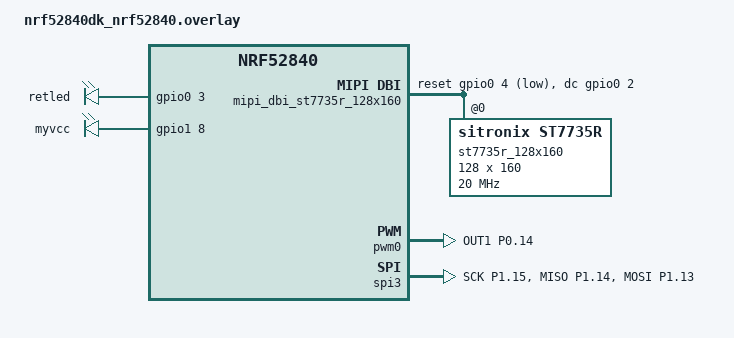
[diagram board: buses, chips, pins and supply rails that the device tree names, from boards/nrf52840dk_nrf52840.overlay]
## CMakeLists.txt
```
#
# Copyright (c) 2021 Nordic Semiconductor ASA
#
# SPDX-License-Identifier: LicenseRef-Nordic-5-Clause
#

cmake_minimum_required(VERSION 3.20.0)

find_package(Zephyr HINTS $ENV{ZEPHYR_BASE})

project(light_bulb_ttt)

# Enable GNU STD support.
include(${ZEPHYR_CONNECTEDHOMEIP_MODULE_DIR}/config/nrfconnect/app/enable-gnu-std.cmake)

# NORDIC SDK APP START

# Include all source files that are located in the Matter common directory.
include(${ZEPHYR_NRF_MODULE_DIR}/samples/matter/common/cmake/source_common.cmake)

# Include Data Model utils
include(${ZEPHYR_NRF_MODULE_DIR}/samples/matter/common/cmake/data_model.cmake)

include(${ZEPHYR_NRF_MODULE_DIR}/samples/matter/common/cmake/zap_helpers.cmake)
ncs_get_zap_parent_dir(ZAP_PARENT_DIR)

target_include_directories(app PRIVATE
  src
  ${ZAP_PARENT_DIR}
)

if(CONFIG_AWS_IOT_INTEGRATION)
  add_subdirectory(src/aws_iot_integration)
endif()

target_sources(app PRIVATE
  src/app_task.cpp
  src/main.cpp
  src/zcl_callbacks.cpp
  ${CHIP_ROOT}/src/app/persistence/DeferredAttributePersistenceProvider.cpp
)

ncs_configure_data_model()
# NORDIC SDK APP END
```

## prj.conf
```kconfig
#
# Copyright (c) 2022 Nordic Semiconductor ASA
#
# SPDX-License-Identifier: LicenseRef-Nordic-5-Clause
#

# Enable CHIP
CONFIG_CHIP=y
CONFIG_CHIP_PROJECT_CONFIG="src/chip_project_config.h"
CONFIG_CHIP_DEVICE_PRODUCT_NAME="Matter Light Bulb"

# Configure ZAP file name
CONFIG_NCS_SAMPLE_MATTER_ZAP_FILE_PATH="${APPLICATION_CONFIG_DIR}/src/default_zap/light_bulb.zap"

# 32773 == 0x8005 (example lighting-app)
CONFIG_CHIP_DEVICE_PRODUCT_ID=32773
CONFIG_STD_CPP17=y

# Enable Matter pairing automatically on application start.
CONFIG_CHIP_ENABLE_PAIRING_AUTOSTART=y

# Enable Matter extended announcement and increase duration to 1 hour.
CONFIG_CHIP_BLE_EXT_ADVERTISING=y
CONFIG_CHIP_BLE_ADVERTISING_DURATION=60

# Add support for LEDs and buttons on Nordic development kits
CONFIG_DK_LIBRARY=y
CONFIG_PWM=y

# Bluetooth Low Energy configuration
CONFIG_BT_DEVICE_NAME="MatterLight"

# Other settings
CONFIG_THREAD_NAME=y
CONFIG_MPU_STACK_GUARD=y
CONFIG_RESET_ON_FATAL_ERROR=n
CONFIG_CHIP_LIB_SHELL=y
CONFIG_NCS_SAMPLE_MATTER_TEST_SHELL=y

# Reduce application size
CONFIG_USE_SEGGER_RTT=n

# Enable Factory Data feature
CONFIG_CHIP_FACTORY_DATA=y
CONFIG_CHIP_FACTORY_DATA_BUILD=y

# Needed for display and LVGL (prevent stack overflow and crash) 
CONFIG_MAIN_STACK_SIZE=4096 
# CONFIG_LV_Z_VDB_SIZE=10
CONFIG_LV_Z_VDB_SIZE=10
CONFIG_LV_Z_BITS_PER_PIXEL=16
CONFIG_LV_DPI_DEF=130
CONFIG_LV_COLOR_16_SWAP=y
CONFIG_SPI=y
CONFIG_LV_Z_VDB_ALIGN=4
CONFIG_LV_CONF_SKIP=y
CONFIG_LV_CONF_MINIMAL=y
CONFIG_LV_COLOR_DEPTH_16=y
# CONFIG_LV_COLOR_DEPTH=16 // x
CONFIG_LV_USE_BUILTIN_MALLOC=y
CONFIG_LV_USE_BUILTIN_STRING=y
CONFIG_LV_USE_BUILTIN_SPRINTF=y
# CONFIG_LV_MEM_SIZE_KILOBYTES=64
CONFIG_LV_MEM_SIZE_KILOBYTES=128
CONFIG_LV_MEM_POOL_EXPAND_SIZE_KILOBYTES=0
CONFIG_LV_MEM_ADR=0x0
CONFIG_LV_DEF_REFR_PERIOD=33
CONFIG_LV_OS_NONE=y
CONFIG_LV_DRAW_BUF_STRIDE_ALIGN=1
CONFIG_LV_DRAW_BUF_ALIGN=4
CONFIG_LV_DRAW_LAYER_SIMPLE_BUF_SIZE=24576
CONFIG_LV_DRAW_LAYER_MAX_MEMORY=0
CONFIG_LV_USE_DRAW_SW=y
CONFIG_LV_DRAW_SW_SUPPORT_RGB565=y
CONFIG_LV_DRAW_SW_SUPPORT_RGB565_SWAPPED=y
CONFIG_LV_DRAW_SW_SUPPORT_RGB565A8=y
CONFIG_LV_DRAW_SW_SUPPORT_RGB888=y
CONFIG_LV_DRAW_SW_SUPPORT_XRGB8888=y
CONFIG_LV_DRAW_SW_SUPPORT_ARGB8888=y
CONFIG_LV_DRAW_SW_SUPPORT_ARGB8888_PREMULTIPLIED=y
CONFIG_LV_DRAW_SW_SUPPORT_L8=y
CONFIG_LV_DRAW_SW_SUPPORT_AL88=y
CONFIG_LV_DRAW_SW_SUPPORT_A8=y
CONFIG_LV_DRAW_SW_SUPPORT_I1=y
CONFIG_LV_DRAW_SW_I1_LUM_THRESHOLD=127
CONFIG_LV_DRAW_SW_DRAW_UNIT_CNT=1
CONFIG_LV_DRAW_SW_COMPLEX=y
CONFIG_LV_DRAW_SW_SHADOW_CACHE_SIZE=0
CONFIG_LV_DRAW_SW_CIRCLE_CACHE_SIZE=4
CONFIG_LV_DRAW_SW_ASM_NONE=y
CONFIG_LV_ASSERT_HANDLER_INCLUDE="assert.h"
CONFIG_LV_CACHE_DEF_SIZE=0
CONFIG_LV_IMAGE_HEADER_CACHE_DEF_CNT=0
CONFIG_LV_GRADIENT_MAX_STOPS=2
CONFIG_LV_COLOR_MIX_ROUND_OFS=128
CONFIG_LV_ATTRIBUTE_MEM_ALIGN_SIZE=1
CONFIG_LV_FONT_UNSCII_8=y
CONFIG_LV_FONT_DEFAULT_UNSCII_8=y
CONFIG_LV_USE_FONT_PLACEHOLDER=y
CONFIG_LV_TXT_ENC_ASCII=y
CONFIG_LV_TXT_BREAK_CHARS=" ,.;:-_)}"
CONFIG_LV_TXT_LINE_BREAK_LONG_LEN=0
CONFIG_LV_TXT_COLOR_CMD="#"
CONFIG_LV_USE_LABEL=y
CONFIG_LV_LABEL_TEXT_SELECTION=y
CONFIG_LV_LABEL_LONG_TXT_HINT=y
CONFIG_LV_LABEL_WAIT_CHAR_COUNT=3
CONFIG_LV_USE_LINE=y
CONFIG_LV_FS_DEFAULT_DRIVER_LETTER=0
CONFIG_LV_USE_OBSERVER=y
# CONFIG_LVGL_VERSION_MAJOR=9 //x
# CONFIG_LVGL_VERSION_MINOR=5 //x
# CONFIG_LVGL_VERSION_PATCH=0 //x
CONFIG_LVGL=y
CONFIG_APP_LINK_WITH_LVGL=y
CONFIG_LV_Z_AREA_X_ALIGNMENT_WIDTH=1
CONFIG_LV_Z_AREA_Y_ALIGNMENT_WIDTH=1
CONFIG_LV_Z_AUTO_INIT=y
CONFIG_LV_Z_INIT_PRIORITY=90
CONFIG_LV_Z_MEM_POOL_SYS_HEAP=y
# CONFIG_LV_Z_MEM_POOL_SIZE=8192
CONFIG_LV_Z_MEM_POOL_SIZE=8192
CONFIG_LV_Z_MONOCHROME_CONVERSION_BUFFER=y
CONFIG_LV_Z_BUFFER_ALLOC_STATIC=y
CONFIG_DISPLAY=y
CONFIG_DISPLAY_INIT_PRIORITY=85
CONFIG_DISPLAY_LOG_LEVEL_DEFAULT=y
CONFIG_ST7735R=y
CONFIG_MIPI_DBI=y
CONFIG_MIPI_DBI_LOG_LEVEL_DEFAULT=y
# CONFIG_MIPI_DBI_LOG_LEVEL=1 //x
CONFIG_MIPI_DBI_INIT_PRIORITY=80
CONFIG_MIPI_DBI_SPI=y
CONFIG_SPI_INIT_PRIORITY=50
CONFIG_SPI_COMPLETION_TIMEOUT_TOLERANCE=200
CONFIG_SPI_LOG_LEVEL_DEFAULT=y
# CONFIG_SPI_LOG_LEVEL=1 //x
CONFIG_SPI_NRFX=y
CONFIG_SPI_NRFX_WAKE_TIMEOUT_US=200
CONFIG_SYS_HEAP_INFO=y
# CONFIG_EXPERIMENTAL=y //x
CONFIG_LV_USE_CANVAS=y
CONFIG_LV_USE_QRCODE=y
CONFIG_LV_USE_FLEX=y
```

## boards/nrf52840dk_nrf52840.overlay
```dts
/*
 * Copyright (c) 2021-2022 Nordic Semiconductor ASA
 *
 * SPDX-License-Identifier: LicenseRef-Nordic-5-Clause
 */

 #include <zephyr/dt-bindings/mipi_dbi/mipi_dbi.h>

/ {
	chosen {
		nordic,pm-ext-flash = &mx25r64;
		zephyr,display = &st7735r_128x160;
	};

	mipi_dbi_st7735r_128x160 {
		compatible = "zephyr,mipi-dbi-spi";
		spi-dev = <&spi3>;
		dc-gpios = <&gpio0 2 GPIO_ACTIVE_HIGH>;
		reset-gpios = <&gpio0 4 GPIO_ACTIVE_LOW>;
		#address-cells = <1>;
		#size-cells = <0>;

		st7735r_128x160: st7735r@0 {
			compatible = "sitronix,st7735r";
			mipi-max-frequency = <20000000>;
			mipi-mode = "MIPI_DBI_MODE_SPI_4WIRE";
			reg = <0>;
			width = <128>;
			height = <160>;
			// inversion-on; ???
			rgb-is-inverted;
			x-offset = <0>;
			y-offset = <0>;
			pwctr1 = [A2 02 84];
			pwctr2 = [C5];
			pwctr3 = [0A 00];
			pwctr4 = [8A 2A];
			pwctr5 = [8A EE];
			invctr = <7>;
			frmctr1 = [01 2C 2D];
			frmctr2 = [01 2C 2D];
			frmctr3 = [01 2C 2D 01 2C 2D];
			vmctr1 = <14>;
			gamctrp1 = [02 1C 07 12 37 32 29 2D 29 25 2B 39 00 01 03 10];
			gamctrn1 = [03 1D 07 06 2E 2C 29 2D 2E 2E 37 3F 00 00 02 10];
			colmod = <5>;
			/* Set D3 (RGB) bit to 1. LV_COLOR_16_SWAP is enabled by default */
			// madctl = <184>; /* Set to <120> to rotate the image 180 degrees. */
			madctl = <200>;
			caset = [00 01 00 a0];
			raset = [00 1a 00 69];
			// caset = [00 00 00 7f];
			// raset = [00 00 00 9f];
		};
	};

	/*
	 * By default, PWM module is only configured for led0 (LED1 on the board).
	 * The light bulb app, however, uses LED2 to show the state of the lighting,
	 * including its brightness level.
	 */
	aliases {
		pwm-led1 = &pwm_led1;
		my-ret-led = &retled;
		my-vcc = &myvcc;
	};

	pwmleds {
		pwm_led1: pwm_led_1 {
			pwms = <&pwm0 1 PWM_MSEC(20) PWM_POLARITY_INVERTED>;
		};
	};

	leds {
		compatible = "gpio-leds";
		retled: d03 {
			gpios = <&gpio0 3 GPIO_ACTIVE_HIGH>;
		};
		myvcc: d112 {
			gpios = <&gpio1 8 GPIO_ACTIVE_HIGH>;
		};
	};
};

&pwm0 {
	pinctrl-0 = <&pwm0_default_alt>;
	pinctrl-1 = <&pwm0_sleep_alt>;
	pinctrl-names = "default", "sleep";
};

&spi3 {
	status = "okay";
	cs-gpios = <&arduino_header 16 GPIO_ACTIVE_LOW>; /* D10 */
	pinctrl-0 = <&spi3_default>;
	pinctrl-1 = <&spi3_sleep>;
	pinctrl-names = "default", "sleep";
};

&pinctrl {
	pwm0_default_alt: pwm0_default_alt {
		group1 {
			psels = <NRF_PSEL(PWM_OUT1, 0, 14)>;
			nordic,invert;
		};
	};

	pwm0_sleep_alt: pwm0_sleep_alt {
		group1 {
			psels = <NRF_PSEL(PWM_OUT1, 0, 14)>;
			low-power-enable;
		};
	};

	spi3_default: spi3_default {
		group1 {
			psels = <NRF_PSEL(SPIM_SCK, 1, 15)>,
				<NRF_PSEL(SPIM_MISO, 1, 14)>,
				<NRF_PSEL(SPIM_MOSI, 1, 13)>;
			nordic,drive-mode = <NRF_DRIVE_H0H1>;
		};
	};

	spi3_sleep: spi3_sleep {
		group1 {
			psels = <NRF_PSEL(SPIM_SCK, 1, 15)>,
				<NRF_PSEL(SPIM_MISO, 1, 14)>,
				<NRF_PSEL(SPIM_MOSI, 1, 13)>;
			low-power-enable;
		};
	};
};

/* Disable unused peripherals to reduce power consumption */
&adc {
	status = "disabled";
};

&uart1 {
	status = "disabled";
};

&i2c0 {
	status = "disabled";
};

&spi1 {
	status = "disabled";
};

// &spi3 {
// 	status = "disabled";
// };

&usbd {
	status = "disabled";
};
```

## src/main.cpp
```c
/*
 * Copyright (c) 2021 Nordic Semiconductor ASA
 *
 * SPDX-License-Identifier: LicenseRef-Nordic-5-Clause
 */

#include "app_task.h"

#include <zephyr/logging/log.h>

// EXTRA
#include <zephyr/kernel.h>
#include <zephyr/drivers/display.h>
#include <zephyr/drivers/gpio.h>
#include <lvgl.h>
#include <string.h>
// Settings
static const int32_t sleep_time_ms = 50;        // Target 20 FPS
static const struct gpio_dt_spec ret_led = GPIO_DT_SPEC_GET(DT_ALIAS(my_ret_led), gpios);
static const struct gpio_dt_spec vcc = GPIO_DT_SPEC_GET(DT_ALIAS(my_vcc), gpios);

LOG_MODULE_REGISTER(app, CONFIG_CHIP_APP_LOG_LEVEL);

int main()
{
	// CHIP_ERROR err = AppTask::Instance().StartApp();

	// LOG_ERR("Exited with code %" CHIP_ERROR_FORMAT, err.Format());
	// return err == CHIP_NO_ERROR ? EXIT_SUCCESS : EXIT_FAILURE;

	// uint32_t count = 0;
    // char buf[11] = {0};
    const struct device *display;
    // lv_obj_t *hello_label;
    // lv_obj_t *counter_label;
    // lv_obj_t *rect;
    // lv_obj_t *circle;
    // lv_style_t rect_style;
    // lv_style_t circle_style;
    // lv_point_precise_t rect_points[5] = { {0, 0}, {120, 0}, {120, 20}, {0, 20}, {0, 0} };
    // const uint32_t circle_radius = 15;

	// Make sure that the GPIO was initialized
	if (!gpio_is_ready_dt(&ret_led)) {
		LOG_DBG("ret led not ready");
		return 0;
	}
	if (!gpio_is_ready_dt(&vcc)) {
		LOG_DBG("vcc not ready");
		return 0;
	}

	// Set the GPIO as output
	int ret = gpio_pin_configure_dt(&ret_led, GPIO_OUTPUT);
	if (ret < 0) {
		return 0;
	}
	ret = gpio_pin_configure_dt(&vcc, GPIO_OUTPUT);
	if (ret < 0) {
		return 0;
	}

	ret = gpio_pin_set_dt(&ret_led, 1);
	if (ret) {
		LOG_ERR("Enable backlight failed! (%d)", ret);
		return ret;
	}
	ret = gpio_pin_set_dt(&vcc, 1);
	if (ret) {
		LOG_ERR("Enable vcc failed! (%d)", ret);
		return ret;
	}

    // Initialize the display
    display = DEVICE_DT_GET(DT_CHOSEN(zephyr_display));
    if (!device_is_ready(display)) {
        printk("Error: display not ready\r\n");
        return 0;
    }

    // // Create a static label widget
    // hello_label = lv_label_create(lv_scr_act());
    // lv_label_set_text(hello_label, "Hello, World!");
    // lv_obj_align(hello_label, LV_ALIGN_TOP_MID, 0, 5);

    // // Create a dynamic label widget
    // counter_label = lv_label_create(lv_scr_act());
    // lv_obj_align(counter_label, LV_ALIGN_BOTTOM_MID, 0, -2);

    // // Set line style
    // lv_style_init(&rect_style);
    // lv_style_set_line_color(&rect_style, lv_color_hex(0x0000FF));
    // lv_style_set_line_width(&rect_style, 3);

    // // Create a rectangle out of lines
    // rect = lv_line_create(lv_scr_act());
    // lv_obj_add_style(rect, &rect_style, 0);
    // lv_line_set_points(rect,
    //                    rect_points,
    //                    sizeof(rect_points) / sizeof(rect_points[0]));
    // lv_obj_align(rect, LV_ALIGN_TOP_MID, 0, 0);

    // // Set circle style
    // lv_style_init(&circle_style);
    // lv_style_set_radius(&circle_style, circle_radius);
    // lv_style_set_bg_opa(&circle_style, LV_OPA_100);
    // lv_style_set_bg_color(&circle_style, lv_color_hex(0xFF0000));

    // // Create an object with the new style
    // circle = lv_obj_create(lv_scr_act());
    // lv_obj_set_size(circle, circle_radius * 2, circle_radius * 2);
    // lv_obj_add_style(circle, &circle_style, 0);
    // lv_obj_align(circle, LV_ALIGN_CENTER, 0, 5);

    // Disable display blanking
    display_blanking_off(display);

	lv_obj_set_style_bg_color(lv_screen_active(),
                              lv_color_white(), 0);

    lv_obj_t * qr = lv_qrcode_create(lv_screen_active());

    lv_qrcode_set_size(qr, 110);

    lv_qrcode_set_dark_color(qr, lv_color_black());
    lv_qrcode_set_light_color(qr, lv_color_white());

    const char * data = "Quieres que te mantenga?";

    lv_qrcode_update(qr, data, strlen(data));

    lv_obj_center(qr);

	// Do forever
    while (1) {

        // // Update counter label every second
        // count++;
        // if ((count % (1000 / sleep_time_ms)) == 0) {
		// LOG_DBG("TEST");
        //     sprintf(buf, "%d", count / (1000 / sleep_time_ms));
        //     lv_label_set_text(counter_label, buf);
        // }

        // Must be called periodically
        lv_task_handler();

        // Sleep
        k_msleep(sleep_time_ms);
    }
}
```

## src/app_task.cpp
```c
/*
 * Copyright (c) 2021 Nordic Semiconductor ASA
 *
 * SPDX-License-Identifier: LicenseRef-Nordic-5-Clause
 */

#include "app_task.h"

#ifdef CONFIG_AWS_IOT_INTEGRATION
#include "aws_iot_integration.h"
#endif

#include "app/matter_init.h"
#include "app/task_executor.h"

#if defined(CONFIG_PWM)
#include "pwm/pwm_device.h"
#endif

#include "clusters/identify.h"

#include <app-common/zap-generated/attributes/Accessors.h>
#include <app/persistence/AttributePersistenceProviderInstance.h>
#include <app/persistence/DefaultAttributePersistenceProvider.h>
#include <app/persistence/DeferredAttributePersistenceProvider.h>
#include <app/server/Server.h>
#include <setup_payload/OnboardingCodesUtil.h>

#include <zephyr/logging/log.h>

// EXTRA
#include <setup_payload/QRCodeSetupPayloadGenerator.h>
#include <zephyr/kernel.h>
#include <zephyr/drivers/display.h>
#include <zephyr/drivers/gpio.h>
#include <string.h>

LOG_MODULE_DECLARE(app, CONFIG_CHIP_APP_LOG_LEVEL);

using namespace ::chip;
using namespace ::chip::app;
using namespace ::chip::DeviceLayer;

namespace
{
constexpr EndpointId kLightEndpointId = 1;
constexpr uint8_t kDefaultMinLevel = 0;
constexpr uint8_t kDefaultMaxLevel = 254;

/*** Start - EXTRA ***/
// User defined errors
constexpr CHIP_ERROR kMyErrorDisplayRetLedPinNotReady = CHIP_APPLICATION_ERROR(0x01);
constexpr CHIP_ERROR kMyErrorDisplayVccPinNotReady = CHIP_APPLICATION_ERROR(0x02);
constexpr CHIP_ERROR kMyErrorDisplayRetLedGpioAsOuputError = CHIP_APPLICATION_ERROR(0x03);
constexpr CHIP_ERROR kMyErrorDisplayVccGpioAsOuputError = CHIP_APPLICATION_ERROR(0x04);
constexpr CHIP_ERROR kMyErrorDisplayRetLedGpioNotEnabled = CHIP_APPLICATION_ERROR(0x05);
constexpr CHIP_ERROR kMyErrorDisplayVccGpioNotEnabled = CHIP_APPLICATION_ERROR(0x06);
constexpr CHIP_ERROR kMyErrorDisplayDeviceNotReady = CHIP_APPLICATION_ERROR(0x07);
// Settings
static const struct gpio_dt_spec ret_led = GPIO_DT_SPEC_GET(DT_ALIAS(my_ret_led), gpios);
static const struct gpio_dt_spec vcc = GPIO_DT_SPEC_GET(DT_ALIAS(my_vcc), gpios);
/*** End - EXTRA ***/

Nrf::Matter::IdentifyCluster sIdentifyCluster(kLightEndpointId, true, []() {
	Nrf::PostTask([] { Nrf::GetBoard().GetLED(Nrf::DeviceLeds::LED2).Set(false); });
#if defined(CONFIG_PWM)
	Nrf::PostTask([] { AppTask::Instance().GetPWMDevice().ApplyLevel(); });
#endif
});

#if defined(CONFIG_PWM)
const struct pwm_dt_spec sLightPwmDevice = PWM_DT_SPEC_GET(DT_ALIAS(pwm_led1));
#endif

/* Define a custom attribute persister which makes actual write of the CurrentLevel attribute value
 * to the non-volatile storage only when it has remained constant for 5 seconds. This is to reduce
 * the flash wearout when the attribute changes frequently as a result of MoveToLevel command.
 * DeferredAttribute object describes a deferred attribute, but also holds a buffer with a value to
 * be written, so it must live so long as the DeferredAttributePersistenceProvider object.
 */
DeferredAttribute gCurrentLevelPersister(ConcreteAttributePath(kLightEndpointId, Clusters::LevelControl::Id,
							       Clusters::LevelControl::Attributes::CurrentLevel::Id));

/* Deferred persistence will be auto-initialized as soon as the default persistence is initialized */
DefaultAttributePersistenceProvider gSimpleAttributePersistence;
DeferredAttributePersistenceProvider gDeferredAttributePersister(gSimpleAttributePersistence,
								 Span<DeferredAttribute>(&gCurrentLevelPersister, 1),
								 System::Clock::Milliseconds32(5000));

#define APPLICATION_BUTTON_MASK DK_BTN2_MSK
} /* namespace */

void AppTask::LightingActionEventHandler(const LightingEvent &event)
{
#if defined(CONFIG_PWM)
	Nrf::PWMDevice::Action_t action = Nrf::PWMDevice::INVALID_ACTION;
	int32_t actor = 0;
	if (event.Actor == LightingActor::Button) {
		action = Instance().mPWMDevice.IsTurnedOn() ? Nrf::PWMDevice::OFF_ACTION : Nrf::PWMDevice::ON_ACTION;
		actor = static_cast<int32_t>(event.Actor);
	}

	if (action == Nrf::PWMDevice::INVALID_ACTION || !Instance().mPWMDevice.InitiateAction(action, actor, NULL)) {
		LOG_INF("An action could not be initiated.");
	}
#else
	Nrf::GetBoard().GetLED(Nrf::DeviceLeds::LED2).Set(!Nrf::GetBoard().GetLED(Nrf::DeviceLeds::LED2).GetState());
#endif
}

void AppTask::ButtonEventHandler(Nrf::ButtonState state, Nrf::ButtonMask hasChanged)
{
	if ((APPLICATION_BUTTON_MASK & hasChanged) & state) {
		Nrf::PostTask([] {
			LightingEvent event;
			event.Actor = LightingActor::Button;
			LightingActionEventHandler(event);
		});
	}
}

void AppTask::AppLevelMatterEventHandler(const chip::DeviceLayer::ChipDeviceEvent *event, intptr_t data)
{
	LOG_DBG("TEST: Matter Event Type, [%u]", event->Type);
	switch (event->Type) {
		case DeviceEventType::kCommissioningComplete:
		{
			LOG_DBG("TEST: kCommissioning Complete");
#if defined(CONFIG_PWM)
			bool lightOn = Instance().GetPWMDevice().IsTurnedOn();
			uint8_t level = Instance().GetPWMDevice().GetLevel();

			Nrf::PostTask([lightOn, level] {
				AppTask().Instance().DeleteQr(lightOn, level);
			});
#endif
		}
			break;
		default:
			break;		
	}
}

#ifdef CONFIG_AWS_IOT_INTEGRATION
bool AppTask::AWSIntegrationCallback(struct aws_iot_integration_cb_data *data)
{
	LOG_INF("Attribute change requested from AWS IoT: %d", data->value);

	Protocols::InteractionModel::Status status;

	VerifyOrDie(data->error == 0);

	if (data->attribute_id == ATTRIBUTE_ID_ONOFF) {
		/* write the new on/off value */
		status = Clusters::OnOff::Attributes::OnOff::Set(kLightEndpointId, data->value);
		if (status != Protocols::InteractionModel::Status::Success) {
			LOG_ERR("Updating on/off cluster failed: %x", to_underlying(status));
			return false;
		}
	} else if (data->attribute_id == ATTRIBUTE_ID_LEVEL_CONTROL) {
		/* write the current level */
		status = Clusters::LevelControl::Attributes::CurrentLevel::Set(kLightEndpointId, data->value);

		if (status != Protocols::InteractionModel::Status::Success) {
			LOG_ERR("Updating level cluster failed: %x", to_underlying(status));
			return false;
		}
	}

	return true;
}
#endif /* CONFIG_AWS_IOT_INTEGRATION */

#if defined(CONFIG_PWM)
void AppTask::ActionInitiated(Nrf::PWMDevice::Action_t action, int32_t actor)
{
	if (action == Nrf::PWMDevice::ON_ACTION) {
		LOG_INF("Turn On Action has been initiated");
	} else if (action == Nrf::PWMDevice::OFF_ACTION) {
		LOG_INF("Turn Off Action has been initiated");
	} else if (action == Nrf::PWMDevice::LEVEL_ACTION) {
		LOG_INF("Level Action has been initiated");
	}
}

void AppTask::ActionCompleted(Nrf::PWMDevice::Action_t action, int32_t actor)
{
	if (action == Nrf::PWMDevice::ON_ACTION) {
		LOG_INF("Turn On Action has been completed");
	} else if (action == Nrf::PWMDevice::OFF_ACTION) {
		LOG_INF("Turn Off Action has been completed");
	} else if (action == Nrf::PWMDevice::LEVEL_ACTION) {
		LOG_INF("Level Action has been completed");
	}

	if (actor == static_cast<int32_t>(LightingActor::Button)) {
		Instance().UpdateClusterState();
#if defined(CONFIG_PWM)
		LOG_DBG("TEST: Update Cluster State");
		if (AppTask::Instance().displayUI.commissionCompleted) {
			LOG_DBG("TEST: commissionCompleted = true");

			bool isOn = Instance().GetPWMDevice().IsTurnedOn();
			uint8_t level = Instance().GetPWMDevice().GetLevel();

			Instance().UpdateDisplay(isOn, level);	
		}
#endif
	} else {
#if defined(CONFIG_PWM)
		LOG_DBG("TEST: Update Cluster State");
		if (AppTask::Instance().displayUI.commissionCompleted) {
			LOG_DBG("TEST: commissionCompleted = true");

			bool isOn = Instance().GetPWMDevice().IsTurnedOn();
			uint8_t level = Instance().GetPWMDevice().GetLevel();

			Instance().UpdateDisplay(isOn, level);	
		}
#endif
	}
}
#endif /* CONFIG_PWM */

void AppTask::UpdateClusterState()
{
	SystemLayer().ScheduleLambda([this] {
#if defined(CONFIG_PWM)
		/* write the new on/off value */
		Protocols::InteractionModel::Status status =
			Clusters::OnOff::Attributes::OnOff::Set(kLightEndpointId, mPWMDevice.IsTurnedOn());
#else
		Protocols::InteractionModel::Status status = Clusters::OnOff::Attributes::OnOff::Set(
			kLightEndpointId, Nrf::GetBoard().GetLED(Nrf::DeviceLeds::LED2).GetState());
#endif
		if (status != Protocols::InteractionModel::Status::Success) {
			LOG_ERR("Updating on/off cluster failed: %x", to_underlying(status));
		}

#if defined(CONFIG_PWM)
		/* write the current level */
		status = Clusters::LevelControl::Attributes::CurrentLevel::Set(kLightEndpointId, mPWMDevice.GetLevel());
#else
		/* write the current level */
		if (Nrf::GetBoard().GetLED(Nrf::DeviceLeds::LED2).GetState()) {
			status = Clusters::LevelControl::Attributes::CurrentLevel::Set(kLightEndpointId, 100);
		} else {
			status = Clusters::LevelControl::Attributes::CurrentLevel::Set(kLightEndpointId, 0);
		}
#endif

		if (status != Protocols::InteractionModel::Status::Success) {
			LOG_ERR("Updating level cluster failed: %x", to_underlying(status));
		}
	});
}

void AppTask::DeleteQr(bool lightOn, uint8_t level)
{
	displayUI.commissionCompleted = true;

	lv_obj_del(displayUI.QRoverlay);

	char buffer[24];

	displayUI.matter_device_type_label = lv_label_create(displayUI.container);
	lv_label_set_text(displayUI.matter_device_type_label, "M. Light Bulb!");

	displayUI.light_on_label = lv_label_create(displayUI.container);
	sprintf(buffer, "Bulb State:%u", lightOn);
	lv_label_set_text(displayUI.light_on_label, buffer);

	displayUI.brightness_level_label = lv_label_create(displayUI.container);
	sprintf(buffer, "Bulb Level:%u%%", (uint8_t)((level - 1) / 253.0 * 100.0 + 0.5));
	lv_label_set_text(displayUI.brightness_level_label, buffer);

	lv_task_handler();
}

void AppTask::UpdateDisplay(bool lightOn, uint8_t level)
{
	LOG_DBG("TEST: UpdateDisplay");

	char buffer[24];
	sprintf(buffer, "Bulb State:%u", lightOn);
	lv_label_set_text(displayUI.light_on_label, buffer);

	sprintf(buffer, "Bulb Level:%u%%", (uint8_t)((level - 1) / 253.0 * 100.0 + 0.5));
	lv_label_set_text(displayUI.brightness_level_label, buffer);

	display_blanking_off(displayUI.display);

	lv_task_handler();
}

void AppTask::InitPWMDDevice()
{
#if defined(CONFIG_PWM)
	/* Initialize lighting device (PWM) */
	uint8_t minLightLevel = kDefaultMinLevel;
	Clusters::LevelControl::Attributes::MinLevel::Get(kLightEndpointId, &minLightLevel);

	uint8_t maxLightLevel = kDefaultMaxLevel;
	Clusters::LevelControl::Attributes::MaxLevel::Get(kLightEndpointId, &maxLightLevel);

	Clusters::LevelControl::Attributes::CurrentLevel::TypeInfo::Type currentLevel;
	Clusters::LevelControl::Attributes::CurrentLevel::Get(kLightEndpointId, currentLevel);

	int ret =
		mPWMDevice.Init(&sLightPwmDevice, minLightLevel, maxLightLevel, currentLevel.ValueOr(kDefaultMaxLevel));
	if (ret != 0) {
		LOG_ERR("Failed to initialize PWD device.");
	}

	mPWMDevice.SetCallbacks(ActionInitiated, ActionCompleted);
#endif
}

CHIP_ERROR AppTask::Init()
{
	/* Initialize Matter stack */
	ReturnErrorOnFailure(Nrf::Matter::PrepareServer(Nrf::Matter::InitData{ .mPostServerInitClbk = []() {
		app::SetAttributePersistenceProvider(&gDeferredAttributePersister);
		gSimpleAttributePersistence.Init(Nrf::Matter::GetPersistentStorageDelegate());
		return CHIP_NO_ERROR;
	} }));

	if (!Nrf::GetBoard().Init(ButtonEventHandler)) {
		LOG_ERR("User interface initialization failed.");
		return CHIP_ERROR_INCORRECT_STATE;
	}

	/* Register Matter event handler that controls the connectivity status LED based on the captured Matter network
	 * state. */
	ReturnErrorOnFailure(Nrf::Matter::RegisterEventHandler(Nrf::Board::DefaultMatterEventHandler, 0));

	ReturnErrorOnFailure(Nrf::Matter::RegisterEventHandler(AppLevelMatterEventHandler, 0));

#ifdef CONFIG_AWS_IOT_INTEGRATION
	int retAws = aws_iot_integration_register_callback(AWSIntegrationCallback);
	if (retAws) {
		LOG_ERR("aws_iot_integration_register_callback() failed");
		return chip::System::MapErrorZephyr(retAws);
	}
#endif

	ReturnErrorOnFailure(sIdentifyCluster.Init());

	return Nrf::Matter::StartServer();
}

CHIP_ERROR AppTask::InitQRcodeOnDisplay()
{
	// Get QR Code
    char payloadBuffer[chip::QRCodeBasicSetupPayloadGenerator::kMaxQRCodeBase38RepresentationLength + 1];
    chip::MutableCharSpan qrCode(payloadBuffer);
    GetQRCode(qrCode, chip::RendezvousInformationFlags(chip::RendezvousInformationFlag::kBLE));
	LOG_DBG("SetupQRCode-TEST: [%s]", qrCode.data());

	// Make sure that the GPIO was initialized
	if (!gpio_is_ready_dt(&ret_led)) {
		return kMyErrorDisplayRetLedPinNotReady;
	}
	if (!gpio_is_ready_dt(&vcc)) {
		return kMyErrorDisplayVccPinNotReady;
	}

	// Set the GPIO as output
	int ret = gpio_pin_configure_dt(&ret_led, GPIO_OUTPUT);
	if (ret < 0) {
		return kMyErrorDisplayRetLedGpioAsOuputError;
	}
	ret = gpio_pin_configure_dt(&vcc, GPIO_OUTPUT);
	if (ret < 0) {
		return kMyErrorDisplayVccGpioAsOuputError;
	}

	ret = gpio_pin_set_dt(&ret_led, 1);
	if (ret) {
		return kMyErrorDisplayRetLedGpioNotEnabled;
	}
	ret = gpio_pin_set_dt(&vcc, 1);
	if (ret) {
		return kMyErrorDisplayVccGpioNotEnabled;
	}

    // Initialize the display
    displayUI.display = DEVICE_DT_GET(DT_CHOSEN(zephyr_display));
    if (!device_is_ready(displayUI.display)) {
        return kMyErrorDisplayDeviceNotReady;
    }

    // Disable display blanking
    display_blanking_off(displayUI.display);

	// lv_obj_set_style_bg_color(lv_screen_active(),
    //                           lv_color_white(), 0);

	displayUI.commissionCompleted = false;

	// Set container for UI afer commissioning
	displayUI.container = lv_obj_create(lv_scr_act());
	lv_obj_set_size(displayUI.container, lv_pct(100), lv_pct(100));
	lv_obj_center(displayUI.container);
	lv_obj_set_flex_flow(displayUI.container, LV_FLEX_FLOW_COLUMN);
	lv_obj_set_style_pad_all(displayUI.container, 5, 0);
	lv_obj_clear_flag(displayUI.container, LV_OBJ_FLAG_SCROLLABLE);
	lv_obj_set_style_bg_color(displayUI.container,
                              lv_color_white(), 0);

	displayUI.QRoverlay = lv_obj_create(lv_scr_act());
	lv_obj_set_size(displayUI.QRoverlay, lv_pct(100), lv_pct(100));
	lv_obj_set_style_bg_color(displayUI.QRoverlay, lv_color_black(), LV_PART_MAIN);
	lv_obj_set_style_bg_opa(displayUI.QRoverlay, LV_OPA_0, 0);  // fully transparent
	lv_obj_clear_flag(displayUI.QRoverlay, LV_OBJ_FLAG_SCROLLABLE);
	lv_obj_set_layout(displayUI.QRoverlay, LV_LAYOUT_NONE);  // no layout

	// Set QRcode for commissioning							  
    displayUI.qr = lv_qrcode_create(displayUI.QRoverlay);
    lv_qrcode_set_size(displayUI.qr, 110);
    lv_qrcode_set_dark_color(displayUI.qr, lv_color_black());
    lv_qrcode_set_light_color(displayUI.qr, lv_color_white());
    lv_qrcode_update(displayUI.qr, qrCode.data(), strlen(qrCode.data()));
    lv_obj_center(displayUI.qr);

	lv_task_handler();

	return CHIP_NO_ERROR;
}

CHIP_ERROR AppTask::StartApp()
{
	ReturnErrorOnFailure(Init());

	ReturnErrorOnFailure(InitQRcodeOnDisplay());

	while (true) {
		Nrf::DispatchNextTask();
	}

	return CHIP_NO_ERROR;
}
```

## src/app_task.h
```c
/*
 * Copyright (c) 2021 Nordic Semiconductor ASA
 *
 * SPDX-License-Identifier: LicenseRef-Nordic-5-Clause
 */

#pragma once

#include "board/board.h"
#include "pwm/pwm_device.h"

#include <platform/CHIPDeviceLayer.h>

// EXTRA
#include <lvgl.h>

struct k_timer;
struct Identify;

enum class LightingActor : uint8_t { Remote, Button };

struct LightingEvent {
	uint8_t Action;
	LightingActor Actor;
};

class AppTask {
public:
	static AppTask &Instance()
	{
		static AppTask sAppTask;
		return sAppTask;
	};

	CHIP_ERROR StartApp();

	void UpdateClusterState();
	void InitPWMDDevice();
	Nrf::PWMDevice &GetPWMDevice() { return mPWMDevice; }

private:
	CHIP_ERROR Init();

	// EXTRA
	CHIP_ERROR InitQRcodeOnDisplay();
	void DeleteQr(bool lightOn, uint8_t level);
	void UpdateDisplay(bool lightOn, uint8_t level);
	static void AppLevelMatterEventHandler(const chip::DeviceLayer::ChipDeviceEvent *event, intptr_t data);

	static void LightingActionEventHandler(const LightingEvent &event);
	static void ButtonEventHandler(Nrf::ButtonState state, Nrf::ButtonMask hasChanged);

	static void ActionInitiated(Nrf::PWMDevice::Action_t action, int32_t actor);
	static void ActionCompleted(Nrf::PWMDevice::Action_t action, int32_t actor);

#ifdef CONFIG_AWS_IOT_INTEGRATION
	static bool AWSIntegrationCallback(struct aws_iot_integration_cb_data *data);
#endif

	Nrf::PWMDevice mPWMDevice;

	// EXTRA
	struct DisplayUI {
		const struct device *display;

		lv_obj_t *container;
		lv_obj_t *QRoverlay;

		lv_obj_t *qr;
 
		lv_obj_t *matter_device_type_label;
		lv_obj_t *light_on_label;
		lv_obj_t *brightness_level_label;

		bool commissionCompleted;
	} displayUI;
};
```
